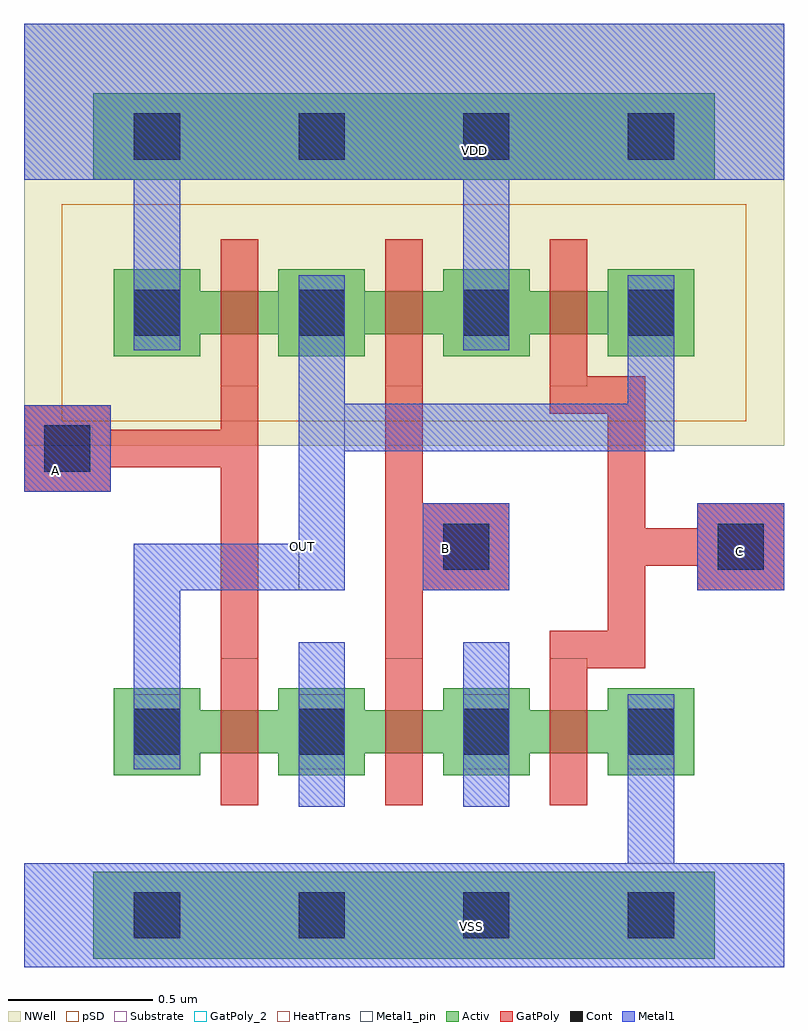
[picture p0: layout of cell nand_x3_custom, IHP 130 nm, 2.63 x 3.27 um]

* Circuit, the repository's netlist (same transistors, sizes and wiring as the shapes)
** sch_path: /foss/designs/PhaseInterpolator/Custom_std_cells/nand_x3_custom.sch
.subckt nand_x3_custom VDD OUT A B C VSS
*.PININFO A:I B:I C:I VSS:B VDD:B OUT:O
M2 OUT A VDD VDD sg13_lv_pmos w=0.15u l=0.13u ng=1 m=1
M1 OUT B VDD VDD sg13_lv_pmos w=0.15u l=0.13u ng=1 m=1
M3 OUT C VDD VDD sg13_lv_pmos w=0.15u l=0.13u ng=1 m=1
M4 OUT A net1 VSS sg13_lv_nmos w=0.15u l=0.13u ng=1 m=1
M5 net1 B net2 VSS sg13_lv_nmos w=0.15u l=0.13u ng=1 m=1
M6 net2 C VSS VSS sg13_lv_nmos w=0.15u l=0.13u ng=1 m=1
.ends

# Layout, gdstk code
from math import pi, radians
import gdstk
lib = gdstk.Library(unit=1e-6, precision=5e-09)
def R(c, l, rs):  # rectangles x0, y0, x1, y1
    for r in rs: c.add(gdstk.rectangle(r[:2], r[2:], *l))
def A(c, l, x, y, w, h, nx, ny, dx, dy):  # array of equal rectangles
    R(c, l, [(x+i*dx, y+j*dy, x+i*dx+w, y+j*dy+h) for i in range(nx) for j in range(ny)])
Activ = (1, 0)
GatPoly = (5, 0)
GatPoly_2 = (5, 2)
Cont = (6, 0)
Metal1 = (8, 0)
Metal1_pin = (8, 2)
pSD = (14, 0)
NWell = (31, 0)
Substrate = (40, 0)
HeatTrans = (51, 0)

pmos = lib.new_cell('pmos')
R(pmos, Activ, [(0,0,0.3,0.3), (0.57,0,0.87,0.3), (0,0.075,0.87,0.225)])
R(pmos, GatPoly, [(0.37,-0.105,0.5,0.405), (0.37,-0.105,0.5,0.405)])
R(pmos, Cont, [(0.07,0.07,0.23,0.23), (0.64,0.07,0.8,0.23)])
R(pmos, Metal1, [(0.07,0.02,0.23,0.28), (0.07,0.02,0.23,0.28), (0.64,0.02,0.8,0.28), (0.64,0.02,0.8,0.28)])
R(pmos, pSD, [(-0.18,-0.225,1.05,0.525)])
R(pmos, NWell, [(-0.31,-0.31,1.18,0.61)])
R(pmos, Substrate, [(0.57,0,0.87,0.3)])
R(pmos, HeatTrans, [(0.37,-0.105,0.5,0.405)])
pmos.add(gdstk.Label('pmos', (0.435,0.15), layer=63, texttype=0))
pmos.add(gdstk.Label('pmos', (0.435,0.15), layer=51, texttype=0))

nmos = lib.new_cell('nmos')
R(nmos, Activ, [(0,0,0.3,0.3), (0.57,0,0.87,0.3), (0,0.075,0.87,0.225)])
R(nmos, GatPoly, [(0.37,-0.105,0.5,0.405)])
R(nmos, GatPoly_2, [(0.37,-0.105,0.5,0.405)])
R(nmos, Cont, [(0.07,0.07,0.23,0.23), (0.64,0.07,0.8,0.23)])
R(nmos, Metal1, [(0.07,0.02,0.23,0.28), (0.64,0.02,0.8,0.28)])
R(nmos, Metal1_pin, [(0.07,0.02,0.23,0.28), (0.64,0.02,0.8,0.28)])
R(nmos, HeatTrans, [(0.37,-0.105,0.5,0.405)])
nmos.add(gdstk.Label('nmos', (0.435,0.15), layer=63, texttype=0))
nmos.add(gdstk.Label('nmos', (0.435,0.15), layer=51, texttype=0))

nand_x3_custom = lib.new_cell('nand_x3_custom')
R(nand_x3_custom, Activ, [(1.06,2.78,3.21,3.08), (1.06,5.475,3.21,5.775)])
R(nand_x3_custom, GatPoly, [(1.5,3.49,1.63,5.27), (2.07,3.49,2.2,5.27), (2.64,3.785,2.97,3.915), (2.84,3.785,2.97,4.795), (2.2,4.055,2.5,4.355), (3.15,4.055,3.45,4.355), (2.97,4.14,3.15,4.27), (0.82,4.395,1.12,4.695), (1.12,4.48,1.5,4.61), (2.64,4.665,2.97,4.795)])
A(nand_x3_custom, Cont, 1.2, 2.85, 0.16, 0.16, 4, 2, 0.57, 2.695)
R(nand_x3_custom, Cont, [(2.27,4.125,2.43,4.285), (3.22,4.125,3.38,4.285), (0.89,4.465,1.05,4.625)])
R(nand_x3_custom, Metal1, [(0.82,2.75,3.45,3.11), (2.91,2.78,3.07,3.695), (1.77,3.305,1.93,3.875), (2.34,3.305,2.5,3.875), (1.2,3.435,1.36,4.215), (1.2,4.055,1.93,4.215), (1.77,4.055,1.93,5.145), (2.2,4.055,2.5,4.355), (3.15,4.055,3.45,4.355), (0.82,4.395,1.12,4.695), (1.77,4.535,3.07,4.7), (2.91,4.535,3.07,5.145), (1.2,4.885,1.36,5.775), (2.34,4.885,2.5,5.775), (0.82,5.475,3.45,6.015)])
R(nand_x3_custom, Metal1_pin, [(0.82,2.75,3.45,3.11), (1.77,4.055,1.93,5.145), (2.2,4.055,2.5,4.355), (3.15,4.055,3.45,4.355), (0.82,4.395,1.12,4.695), (0.82,5.475,3.45,6.015)])
R(nand_x3_custom, pSD, [(0.82,2.75,3.45,3.11)])
R(nand_x3_custom, NWell, [(0.82,5.475,3.45,6.015)])
nand_x3_custom.add(gdstk.Reference(pmos, (2.57,5.165), rotation=pi))
nand_x3_custom.add(gdstk.Reference(pmos, (2.27,4.865)))
nand_x3_custom.add(gdstk.Reference(nmos, (2,3.715), rotation=pi))
nand_x3_custom.add(gdstk.Reference(nmos, (3.14,3.715), rotation=pi))
nand_x3_custom.add(gdstk.Reference(pmos, (1.13,4.865)))
nand_x3_custom.add(gdstk.Reference(nmos, (2.57,3.715), rotation=pi))
nand_x3_custom.add(gdstk.Label('VDD', (2.38,5.575), layer=8, texttype=25))
nand_x3_custom.add(gdstk.Label('VSS', (2.37,2.89), layer=8, texttype=25))
nand_x3_custom.add(gdstk.Label('A', (0.93,4.47), layer=8, texttype=25))
nand_x3_custom.add(gdstk.Label('C', (3.295,4.19), layer=8, texttype=25))
nand_x3_custom.add(gdstk.Label('B', (2.28,4.2), layer=8, texttype=25))
nand_x3_custom.add(gdstk.Label('OUT', (1.785,4.205), layer=8, texttype=25))

lib.write_gds('nand_x3_custom.gds')
